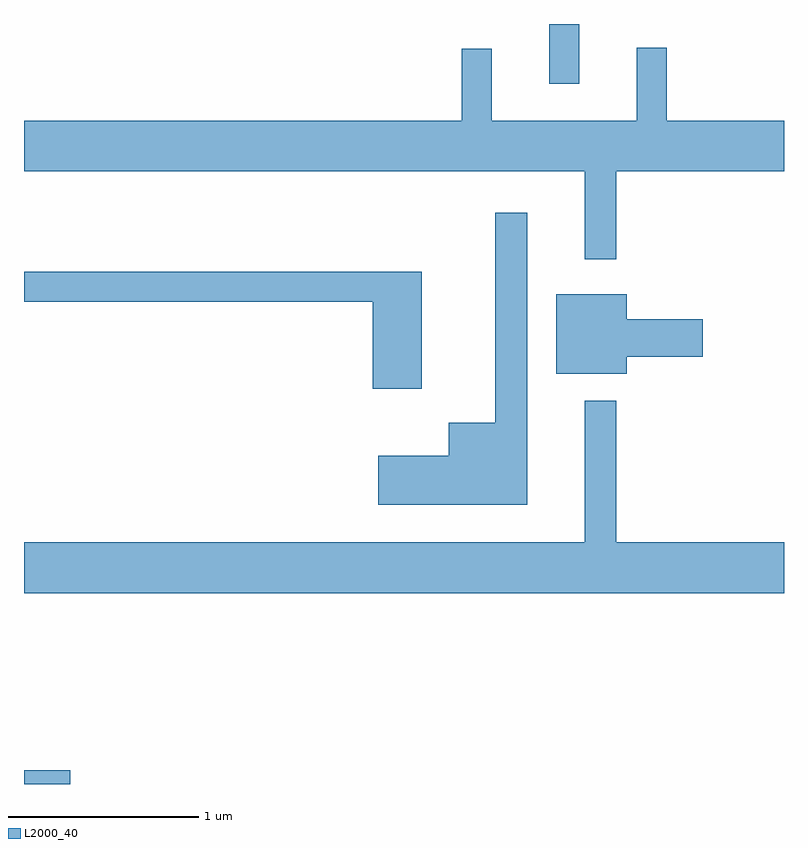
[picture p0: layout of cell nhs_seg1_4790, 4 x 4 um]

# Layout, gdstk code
import gdstk
lib = gdstk.Library(unit=1e-6, precision=1e-09)
def R(c, l, rs):  # rectangles x0, y0, x1, y1
    for r in rs: c.add(gdstk.rectangle(r[:2], r[2:], *l))
def P(c, l, *ps):  # polygons
    for p in ps: c.add(gdstk.Polygon(p, *l))
L2000_40 = (2000, 40)

nhs_seg1_4790 = lib.new_cell('nhs_seg1_4790')
R(nhs_seg1_4790, L2000_40, [(329.611,869.712,329.854,869.784), (332.376,873.398,332.534,873.712)])
P(nhs_seg1_4790, L2000_40, [(332.729,872.936),(333.611,872.936),(333.611,873.204),(332.994,873.204),(332.994,873.588),(332.836,873.588),(332.836,873.204),(332.074,873.204),(332.074,873.583),(331.916,873.583),(331.916,873.204),(329.611,873.204),(329.611,872.936),(332.561,872.936),(332.561,872.473),(332.729,872.473)],
  [(332.259,872.718),(332.091,872.718),(332.091,871.614),(331.846,871.614),(331.846,871.439),(331.476,871.439),(331.476,871.181),(332.259,871.181)],
  [(331.704,872.409),(329.611,872.409),(329.611,872.251),(331.446,872.251),(331.446,871.791),(331.704,871.791)],
  [(332.784,871.961),(333.184,871.961),(333.184,872.159),(332.784,872.159),(332.784,872.289),(332.411,872.289),(332.411,871.871),(332.784,871.871)],
  [(333.611,870.984),(332.729,870.984),(332.729,871.728),(332.561,871.728),(332.561,870.984),(329.611,870.984),(329.611,870.716),(333.611,870.716)])

lib.write_gds('nhs_seg1_4790.gds')
